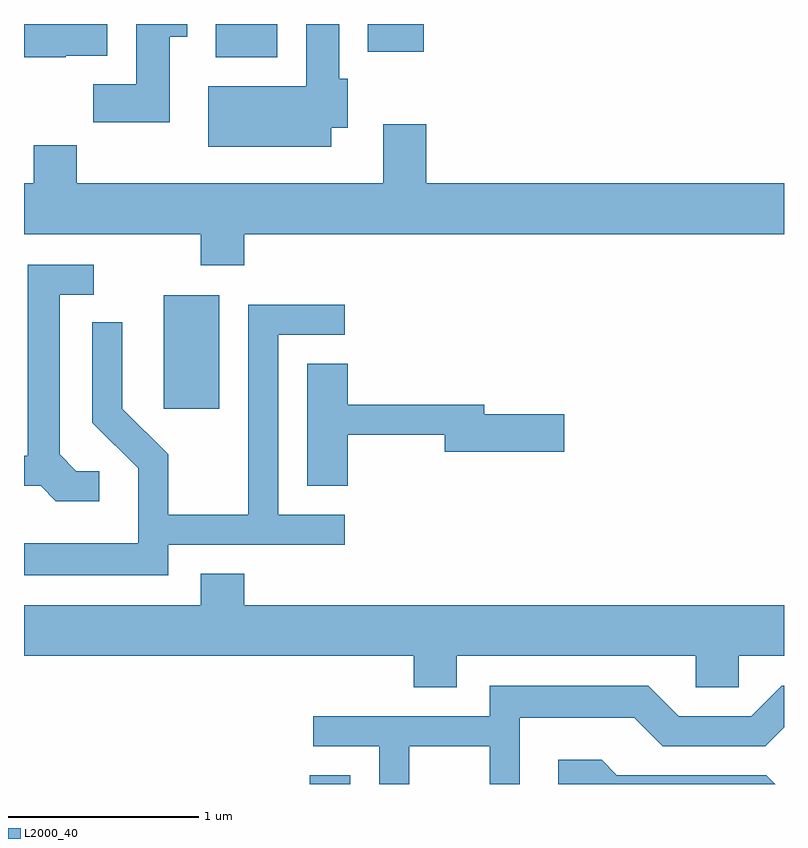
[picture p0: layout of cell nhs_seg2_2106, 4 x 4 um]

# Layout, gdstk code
import gdstk
lib = gdstk.Library(unit=1e-6, precision=1e-09)
def R(c, l, rs):  # rectangles x0, y0, x1, y1
    for r in rs: c.add(gdstk.rectangle(r[:2], r[2:], *l))
def P(c, l, *ps):  # polygons
    for p in ps: c.add(gdstk.Polygon(p, *l))
L2000_40 = (2000, 40)

nhs_seg2_2106 = lib.new_cell('nhs_seg2_2106')
R(nhs_seg2_2106, L2000_40, [(247.116,1109.802,247.329,1109.849), (246.346,1111.776,246.639,1112.374), (246.621,1113.626,246.944,1113.802), (247.421,1113.656,247.714,1113.802)])
P(nhs_seg2_2106, L2000_40, [(247.229,1113.256),(247.314,1113.256),(247.314,1113.514),(247.269,1113.514),(247.269,1113.802),(247.096,1113.802),(247.096,1113.474),(246.581,1113.474),(246.581,1113.156),(247.229,1113.156)],
  [(245.83,1113.636),(246.049,1113.636),(246.049,1113.802),(245.611,1113.802),(245.611,1113.626),(245.83,1113.626)],
  [(246.379,1113.736),(246.469,1113.736),(246.469,1113.802),(246.201,1113.802),(246.201,1113.484),(245.976,1113.484),(245.976,1113.286),(246.379,1113.286)],
  [(246.769,1112.696),(249.611,1112.696),(249.611,1112.964),(247.729,1112.964),(247.729,1113.274),(247.501,1113.274),(247.501,1112.964),(245.889,1112.964),(245.889,1113.164),(245.661,1113.164),(245.661,1112.964),(245.611,1112.964),(245.611,1112.696),(246.541,1112.696),(246.541,1112.531),(246.769,1112.531)],
  [(246.008,1111.449),(245.887,1111.449),(245.799,1111.537),(245.799,1112.376),(245.978,1112.376),(245.978,1112.534),(245.631,1112.534),(245.631,1111.529),(245.611,1111.529),(245.611,1111.371),(245.699,1111.371),(245.779,1111.291),(246.008,1111.291)],
  [(246.369,1111.061),(247.298,1111.061),(247.298,1111.219),(246.949,1111.219),(246.949,1112.166),(247.298,1112.166),(247.298,1112.324),(246.791,1112.324),(246.791,1111.219),(246.369,1111.219),(246.369,1111.537),(246.129,1111.777),(246.129,1112.233),(245.971,1112.233),(245.971,1111.704),(246.211,1111.464),(246.211,1111.069),(245.611,1111.069),(245.611,1110.901),(246.369,1110.901)],
  [(247.314,1111.641),(247.826,1111.641),(247.826,1111.551),(248.454,1111.551),(248.454,1111.749),(248.034,1111.749),(248.034,1111.799),(247.314,1111.799),(247.314,1112.014),(247.101,1112.014),(247.101,1111.371),(247.314,1111.371)],
  [(247.889,1110.476),(249.146,1110.476),(249.146,1110.311),(249.374,1110.311),(249.374,1110.476),(249.611,1110.476),(249.611,1110.744),(246.769,1110.744),(246.769,1110.909),(246.541,1110.909),(246.541,1110.744),(245.611,1110.744),(245.611,1110.476),(247.661,1110.476),(247.661,1110.311),(247.889,1110.311)],
  [(247.639,1110.001),(248.061,1110.001),(248.061,1109.802),(248.219,1109.802),(248.219,1110.151),(248.824,1110.151),(248.974,1110.001),(249.512,1110.001),(249.611,1110.1),(249.611,1110.319),(249.599,1110.319),(249.439,1110.159),(249.057,1110.159),(248.897,1110.319),(248.061,1110.319),(248.061,1110.159),(247.133,1110.159),(247.133,1110.001),(247.481,1110.001),(247.481,1109.802),(247.639,1109.802)],
  [(249.517,1109.849),(248.732,1109.849),(248.652,1109.929),(248.423,1109.929),(248.423,1109.802),(249.564,1109.802)])

lib.write_gds('nhs_seg2_2106.gds')
